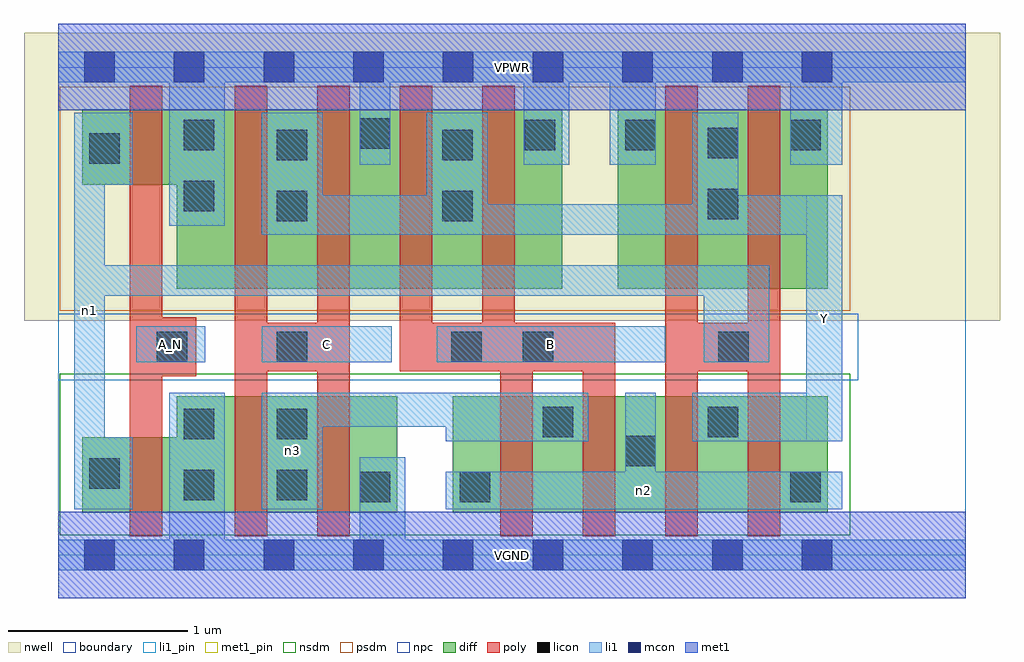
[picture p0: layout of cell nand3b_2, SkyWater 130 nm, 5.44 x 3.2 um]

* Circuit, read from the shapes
.subckt nand3b_2 A_N B C VGND VPWR Y n1 n2 n3
XM1 VGND A_N n1 VSUBS sky130_fd_pr__nfet_01v8 w=0.42 l=0.18
XM2 n3 C VGND VSUBS sky130_fd_pr__nfet_01v8 w=0.65 l=0.18 m=2
XM3 n3 B n2 VSUBS sky130_fd_pr__nfet_01v8 w=0.65 l=0.18 m=2
XM4 Y n1 n2 VSUBS sky130_fd_pr__nfet_01v8 w=0.65 l=0.18 m=2
XM5 VPWR A_N n1 n4 sky130_fd_pr__pfet_01v8 w=0.42 l=0.18
XM6 Y C VPWR n4 sky130_fd_pr__pfet_01v8 w=1 l=0.18 m=2
XM7 Y B VPWR n4 sky130_fd_pr__pfet_01v8 w=1 l=0.18 m=2
XM8 Y n1 VPWR n4 sky130_fd_pr__pfet_01v8 w=1 l=0.18 m=2
.ends

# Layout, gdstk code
import gdstk
lib = gdstk.Library(unit=1e-6, precision=1e-09)
def R(c, l, rs):  # rectangles x0, y0, x1, y1
    for r in rs: c.add(gdstk.rectangle(r[:2], r[2:], *l))
def A(c, l, x, y, w, h, nx, ny, dx, dy):  # array of equal rectangles
    R(c, l, [(x+i*dx, y+j*dy, x+i*dx+w, y+j*dy+h) for i in range(nx) for j in range(ny)])
nwell = (64, 20)
diff = (65, 20)
poly = (66, 20)
licon = (66, 44)
li1_pin = (67, 16)
li1 = (67, 20)
mcon = (67, 44)
met1_pin = (68, 16)
met1 = (68, 20)
nsdm = (93, 44)
psdm = (94, 20)
npc = (95, 20)
boundary = (235, 4)

nand3b_2 = lib.new_cell('nand3b_2')
R(nand3b_2, nwell, [(-0.19,1.305,5.25,2.91), (0,1.305,5.06,2.91)])
R(nand3b_2, diff, [(0.135,0.235,1.89,0.655), (0.66,0.235,1.89,0.885), (2.2,0.235,4.29,0.885), (0.66,1.485,2.81,2.485), (3.12,1.485,4.29,2.485), (0.135,2.065,2.81,2.485)])
R(nand3b_2, poly, [(0.4,0.105,0.58,2.615), (0.985,0.105,1.165,2.615), (1.445,0.105,1.625,2.615), (2.465,0.105,2.645,1.295), (2.925,0.105,3.105,1.295), (3.385,0.105,3.565,2.615), (3.845,0.105,4.025,2.615), (0.4,0.995,0.77,1.325), (0.985,1.025,1.625,1.295), (1.905,1.025,3.105,1.295), (1.905,1.025,2.085,2.615), (2.365,1.025,2.545,2.615), (3.385,1.025,4.025,1.295)])
R(nand3b_2, licon, [(1.68,0.295,1.85,0.465), (2.24,0.295,2.41,0.465), (4.08,0.295,4.25,0.465), (0.7,0.305,0.87,0.475), (1.22,0.305,1.39,0.475), (0.175,0.37,0.345,0.54), (3.16,0.495,3.33,0.665), (0.7,0.645,0.87,0.815), (1.22,0.645,1.39,0.815), (2.7,0.655,2.87,0.825), (3.62,0.655,3.79,0.825), (0.55,1.075,0.72,1.245), (1.22,1.075,1.39,1.245), (2.19,1.075,2.36,1.245), (2.59,1.075,2.76,1.245), (3.68,1.075,3.85,1.245), (1.22,1.86,1.39,2.03), (2.14,1.86,2.31,2.03), (3.62,1.87,3.79,2.04), (0.7,1.915,0.87,2.085), (0.175,2.18,0.345,2.35), (1.22,2.2,1.39,2.37), (2.14,2.2,2.31,2.37), (3.62,2.21,3.79,2.38), (0.7,2.255,0.87,2.425), (2.6,2.255,2.77,2.425), (3.16,2.255,3.33,2.425), (4.08,2.255,4.25,2.425), (1.68,2.265,1.85,2.435)])
R(nand3b_2, li1_pin, [(4.17,0.635,4.37,2.005), (0.435,1.075,0.82,1.275), (1.135,1.075,1.86,1.275), (2.11,1.075,3.385,1.275)])
R(nand3b_2, li1, [(0,-0.085,5.06,0.085), (0.62,-0.085,0.93,0.905), (1.68,-0.085,1.935,0.545), (0.09,0.255,0.26,2.465), (0.09,0.255,0.415,0.655), (1.135,0.255,1.475,0.905), (2.16,0.255,4.37,0.465), (3.16,0.255,3.33,0.905), (2.16,0.635,2.955,0.905), (3.535,0.635,4.37,0.905), (4.17,0.635,4.37,2.005), (1.135,0.715,2.955,0.905), (0.435,1.075,0.82,1.275), (1.135,1.075,1.86,1.275), (2.11,1.075,3.385,1.275), (3.6,1.075,3.965,1.615), (0.09,1.445,3.965,1.615), (1.135,1.785,4.37,1.955), (1.135,1.785,1.475,2.465), (1.135,1.785,2.395,2.005), (2.055,1.785,2.395,2.465), (3.535,1.785,3.79,2.465), (3.535,1.785,4.37,2.005), (0.62,1.835,0.93,2.805), (0.09,2.065,0.415,2.465), (1.68,2.175,1.85,2.805), (2.595,2.175,2.85,2.805), (3.075,2.175,3.33,2.805), (4.08,2.175,4.37,2.805), (0,2.635,5.06,2.805)])
A(nand3b_2, mcon, 0.145, -0.085, 0.17, 0.17, 9, 2, 0.5, 2.72)
R(nand3b_2, met1_pin, [(0,-0.24,5.06,0.24), (0,2.48,5.06,2.96)])
R(nand3b_2, met1, [(0,-0.24,5.06,0.24), (0,2.48,5.06,2.96)])
R(nand3b_2, nsdm, [(0.01,0.11,4.415,1.01)])
R(nand3b_2, psdm, [(0.01,1.36,4.415,2.61)])
R(nand3b_2, npc, [(0,0.975,4.46,1.345)])
R(nand3b_2, boundary, [(0,0,5.06,2.72)])
nand3b_2.add(gdstk.Label('A_N', (0.627,1.175), layer=67, texttype=5))
nand3b_2.add(gdstk.Label('B', (2.747,1.175), layer=67, texttype=5))
nand3b_2.add(gdstk.Label('C', (1.497,1.175), layer=67, texttype=5))
nand3b_2.add(gdstk.Label('Y', (4.27,1.32), layer=67, texttype=5))
nand3b_2.add(gdstk.Label('n3', (1.305,0.58), layer=67, texttype=5))
nand3b_2.add(gdstk.Label('n2', (3.265,0.36), layer=67, texttype=5))
nand3b_2.add(gdstk.Label('n1', (0.175,1.36), layer=67, texttype=5))
nand3b_2.add(gdstk.Label('VPWR', (2.53,2.72), layer=68, texttype=5))
nand3b_2.add(gdstk.Label('VGND', (2.53,0), layer=68, texttype=5))
nand3b_2.add(gdstk.Label('A_N', (0.627,1.175), layer=67, texttype=16))
nand3b_2.add(gdstk.Label('B', (2.747,1.175), layer=67, texttype=16))
nand3b_2.add(gdstk.Label('C', (1.497,1.175), layer=67, texttype=16))
nand3b_2.add(gdstk.Label('Y', (4.27,1.32), layer=67, texttype=16))
nand3b_2.add(gdstk.Label('VPWR', (2.53,2.72), layer=68, texttype=16))
nand3b_2.add(gdstk.Label('VGND', (2.53,0), layer=68, texttype=16))

lib.write_gds('nand3b_2.gds')
